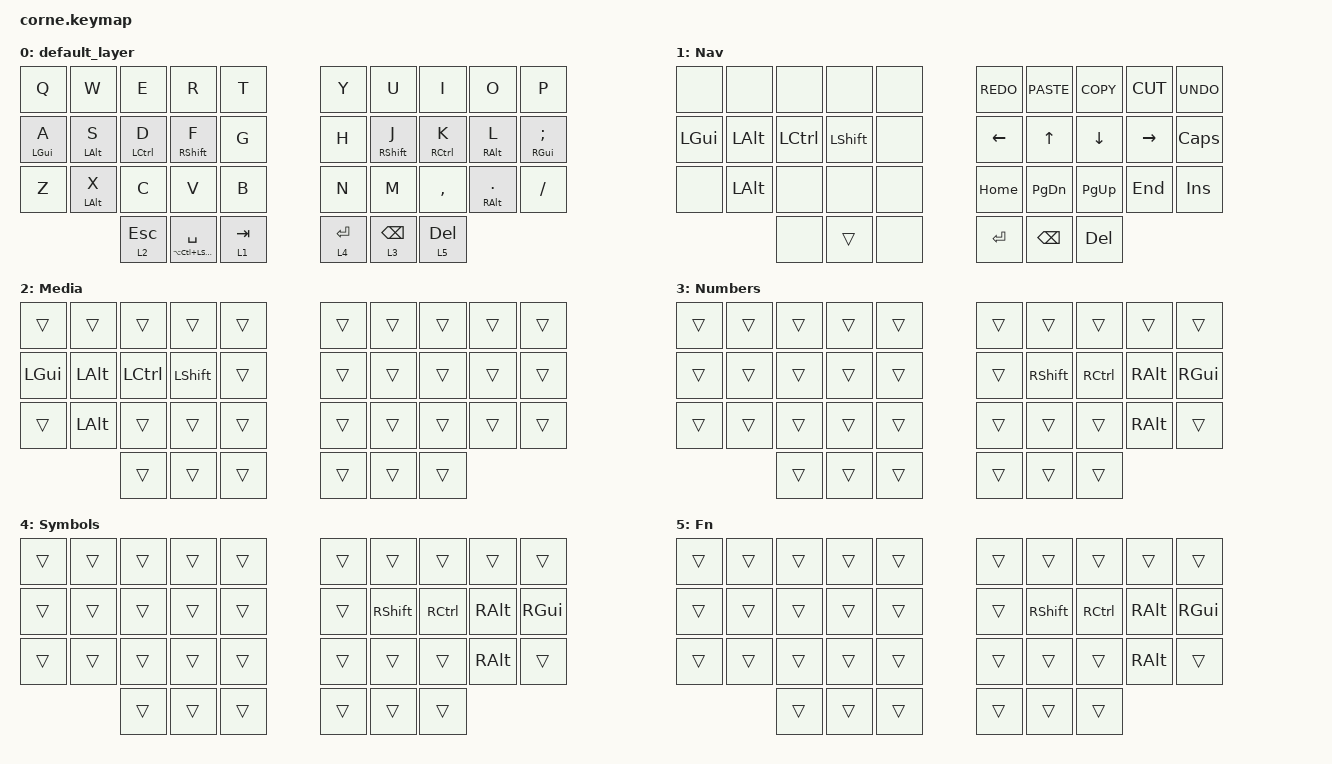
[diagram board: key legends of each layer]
/*
 * Copyright (c) 2020 The ZMK Contributors
 *
 * SPDX-License-Identifier: MIT
 */

#include <behaviors.dtsi>
#include <dt-bindings/zmk/bt.h>
#include <behaviors/mouse_key_press.dtsi>
#include <dt-bindings/zmk/mouse.h>
#include <dt-bindings/zmk/ext_power.h>
#include <dt-bindings/zmk/keys.h>
#include <dt-bindings/zmk/outputs.h>
#include <dt-bindings/zmk/rgb.h>


&mt {
    flavor = "tap-preferred";
    tapping_term_ms = <250>;
};

/ {
    chosen { zmk,matrix_transform = &five_column_transform; };

    keymap {
        compatible = "zmk,keymap";

        default_layer {
            bindings = <
  &kp Q           &kp W       &kp E        &kp R                         &kp T        &kp Y      &kp U         &kp I        &kp O         &kp P
  &mt LEFT_GUI A  &mt LALT S  &mt LCTRL D  &mt RSHIFT F                  &kp G        &kp H      &mt RSHIFT J  &mt RCTRL K  &mt RALT L    &mt RIGHT_GUI SEMI
  &kp Z           &mt LALT X  &kp C        &kp V                         &kp B        &kp N      &kp M         &kp COMMA    &mt RALT DOT  &kp FSLH
                              &lt 2 ESC    &mt LA(LC(LEFT_SHIFT)) SPACE  &lt 1 TAB    &lt 4 RET  &lt 3 BSPC    &lt 5 DEL
            >;
        };

        Nav {
            bindings = <
  &none     &none     &none      &none      &none    &kp K_REDO      &kp K_PASTE   &kp K_COPY      &kp K_CUT  &kp K_UNDO
  &kp LGUI  &kp LALT  &kp LCTRL  &kp LSHFT  &none    &kp LEFT_ARROW  &kp UP_ARROW  &kp DOWN_ARROW  &kp RIGHT  &kp CAPSLOCK
  &none     &kp LALT  &none      &none      &none    &kp HOME        &kp PG_DN     &kp PG_UP       &kp END    &kp INS
                      &none      &trans     &none    &kp RET         &kp BSPC      &kp DEL
            >;
        };

        Media {
            bindings = <
  &trans    &trans    &trans     &trans     &trans    &trans  &trans  &trans  &trans  &trans
  &kp LGUI  &kp LALT  &kp LCTRL  &kp LSHFT  &trans    &trans  &trans  &trans  &trans  &trans
  &trans    &kp LALT  &trans     &trans     &trans    &trans  &trans  &trans  &trans  &trans
                      &trans     &trans     &trans    &trans  &trans  &trans
            >;
        };

        Numbers {
            bindings = <
  &trans  &trans  &trans  &trans  &trans    &trans  &trans     &trans     &trans    &trans
  &trans  &trans  &trans  &trans  &trans    &trans  &kp RSHFT  &kp RCTRL  &kp RALT  &kp RGUI
  &trans  &trans  &trans  &trans  &trans    &trans  &trans     &trans     &kp RALT  &trans
                  &trans  &trans  &trans    &trans  &trans     &trans
            >;
        };

        Symbols {
            bindings = <
  &trans  &trans  &trans  &trans  &trans    &trans  &trans     &trans     &trans    &trans
  &trans  &trans  &trans  &trans  &trans    &trans  &kp RSHFT  &kp RCTRL  &kp RALT  &kp RGUI
  &trans  &trans  &trans  &trans  &trans    &trans  &trans     &trans     &kp RALT  &trans
                  &trans  &trans  &trans    &trans  &trans     &trans
            >;
        };

        Fn {
            bindings = <
  &trans  &trans  &trans  &trans  &trans    &trans  &trans     &trans     &trans    &trans
  &trans  &trans  &trans  &trans  &trans    &trans  &kp RSHFT  &kp RCTRL  &kp RALT  &kp RGUI
  &trans  &trans  &trans  &trans  &trans    &trans  &trans     &trans     &kp RALT  &trans
                  &trans  &trans  &trans    &trans  &trans     &trans
            >;
        };
    };
};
